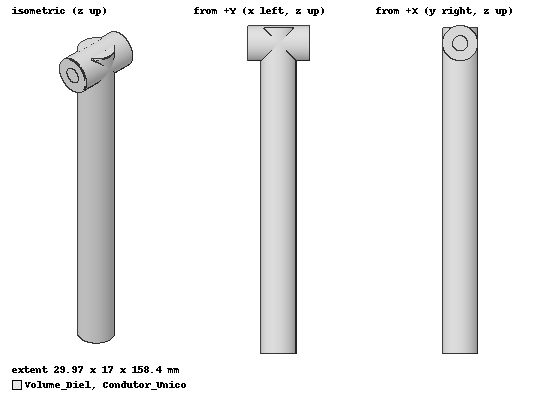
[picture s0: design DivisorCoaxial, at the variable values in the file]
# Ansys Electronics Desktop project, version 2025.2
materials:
  vacuum: permittivity=1
  Ar: permittivity=1.0006 permeability=1
  pec: conductivity=1e+30
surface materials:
  Steel-oxidised-surface

design DivisorCoaxial (HFSS, HFSS Modal Network, model units mm)
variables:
  comp_total = 157.34384mm
  comp_secoes = 149.85128mm
  dia_int_tubo = 17mm
  dia_saida_diel = 17mm
  dia_saida_cond = 7.381395mm
  comp_saida = 14.985128mm
  dia_sc1 = 8.4291415mm
  dia_sc2 = 10.351847mm
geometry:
  Volume_Diel [Ar] = cylinder(axis=Z, base_centre=(0mm, 0mm, 0mm), radius=dia_int_tubo/2, height=comp_total)
  Condutor_Unico [pec] = cylinder(axis=Z, base_centre=(0mm, 0mm, 0mm), radius=dia_sc1/2, height=74.92564mm)
  Cond_Sec2 = cylinder(axis=Z, base_centre=(0mm, 0mm, 74.92564mm), radius=dia_sc2/2, height=74.92564mm)
  Output_Outer_1 = cylinder(axis=X, base_centre=(0mm, 0mm, comp_secoes), radius=dia_saida_diel/2, height=comp_saida)
  Output_Inner_1 = cylinder(axis=X, base_centre=(0mm, 0mm, comp_secoes), radius=dia_saida_cond/2, height=comp_saida)
  Output_Outer_1_1 = Output_Outer_1.duplicate_around_axis(axis=Z, angle=360deg/2, total=2)
  Output_Inner_1_1 = Output_Inner_1.duplicate_around_axis(axis=Z, angle=360deg/2, total=2)
  Volume_Diel.unite(Output_Outer_1, Output_Outer_1_1)
  Condutor_Unico.unite(Cond_Sec2, Output_Inner_1, Output_Inner_1_1)
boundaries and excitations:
  P1: Wave Port Faces=Volume_Diel.face(-z end) WavePortType=Modal NumModes=1 Modes{Mode1{CharImp=Zpi RenormImp=50ohm}}
  P2: Wave Port Faces=Volume_Diel.face(at (14.9851, 0, 149.851)) WavePortType=Modal NumModes=1 Modes{Mode1{CharImp=Zpi RenormImp=50ohm}}
  P3: Wave Port Faces=Volume_Diel.face(at (-14.9851, 0, 149.851)) WavePortType=Modal NumModes=1 Modes{Mode1{CharImp=Zpi RenormImp=50ohm}}
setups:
  Setup1: HfssDriven Frequency=1GHz MaxDeltaS=0.02 MaximumPasses=8 MinimumPasses=1 MinimumConvergedPasses=1 PercentRefinement=30 BasisOrder=1 PortAccuracy=2 DrivenSolverType="Direct Solver"
    sweep Sweep1: 800MHz to 1200MHz, 201 points; Type=Fast
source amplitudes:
  P1:1: 1W 0deg
  P2:1, P3:1: 0W 0deg
